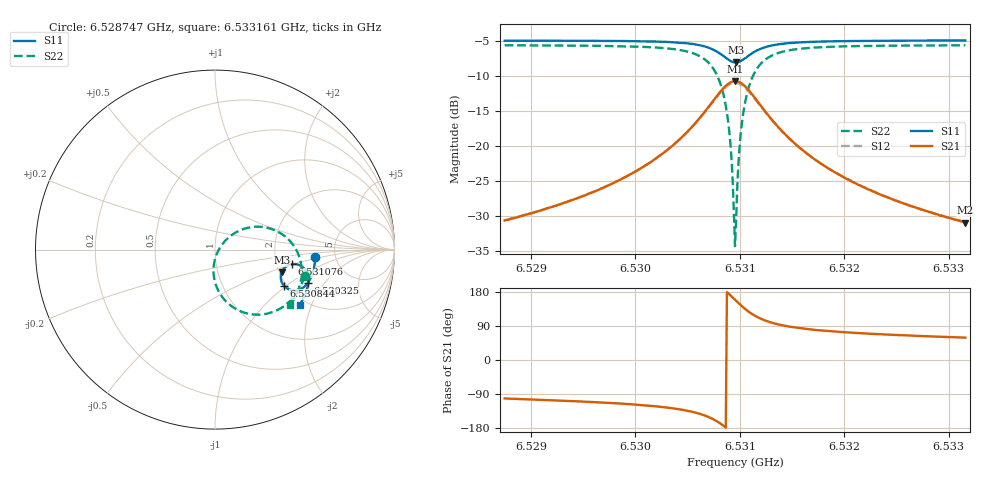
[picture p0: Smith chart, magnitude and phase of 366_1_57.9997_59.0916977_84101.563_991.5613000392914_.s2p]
#  HZ  S  RI  R  50.00
! Rohde & Schwarz Vector Network Analyzer
! Rohde-Schwarz,ZNB20-2Port,1311601062101988,3.16
! Created: UTC 3/21/2024, 1:06:43 AM
! freq[Hz]  re:S11  im:S11  re:S21  im:S21  re:S12  im:S12  re:S22  im:S22
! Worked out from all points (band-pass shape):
!   401 points, 6.528747 GHz to 6.533161 GHz, reference 50 ohm
!   highest |S21| = -10.79 dB at 6.530954 GHz (marker M1); lowest = -31.0 dB at 6.533161 GHz (marker M2)
!   |S21| within 3 dB of the highest: 6.530735 GHz to 6.531176 GHz (440.4 kHz wide, 0.00674 % of centre)
!   lowest |S11| = -8.1 dB at 6.530965 GHz (marker M3), VSWR 2.29, Z = 103 - j30.6 ohm
!   |S11| at or under -10 dB: nowhere
!   |S22| runs from -34.3 to -5.7 dB; largest |S21 - S12| = 0.011
!   S11 on the Smith chart (normalised r, x): 6.528747 GHz: 3.50, -0.45; 6.530325 GHz: 2.60, -1.39; 6.530844 GHz: 1.94, -0.97; 6.531076 GHz: 2.42, -0.48; 6.533161 GHz: 1.82, -1.65
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6.5287473e9  0.5596 -0.0437  -0.00581 -0.0287  -0.00646 -0.0286  0.4997 -0.1469
6.5294866e9  0.5506 -0.1044  -0.0145 -0.0409  -0.0155 -0.0406  0.4714 -0.214
6.5302259e9  0.5239 -0.1756  -0.046 -0.0703  -0.0477 -0.0693  0.3951 -0.3068
6.5303252e9  0.5161 -0.1871  -0.0568 -0.0772  -0.0589 -0.0757  0.372 -0.3233
6.5306783e9  0.4536 -0.2269  -0.1525 -0.0957  -0.1546 -0.0897  0.1897 -0.3579
6.5307776e9  0.4147 -0.2226  -0.2128 -0.0726  -0.2124 -0.064  0.0867 -0.3112
6.5308438e9  0.3858 -0.2029  -0.2559 -0.0288  -0.252 -0.0195  0.0191 -0.2303
6.5308769e9  0.3741 -0.1858  -0.2719 0.00503  -0.2656 0.0135  -0.00238 -0.1716
6.530899e9  0.3688 -0.172  -0.2779 0.0314  -0.2703 0.0389  -0.00831 -0.1269
6.5309431e9  0.3674 -0.141  -0.2743 0.0885  -0.2649 0.0929  0.00652 -0.0332
6.5309542e9  0.3692 -0.1332  -0.2699 0.1026  -0.2602 0.1062  0.016 -0.0106
6.5309652e9  0.3717 -0.1255  -0.2641 0.1162  -0.2543 0.1189  0.0277 0.0109
6.5309762e9  0.3753 -0.1184  -0.2569 0.1291  -0.2473 0.131  0.0414 0.0309
6.5309983e9  0.3843 -0.1053  -0.2393 0.1522  -0.2302 0.1524  0.074 0.0661
6.5310093e9  0.3897 -0.0997  -0.229 0.1621  -0.2204 0.1615  0.0923 0.0806
6.5310424e9  0.4078 -0.0872  -0.1957 0.1845  -0.1884 0.1825  0.1512 0.1122
6.5310755e9  0.427 -0.0811  -0.1613 0.1961  -0.1555 0.1934  0.2104 0.1262
6.5311528e9  0.4656 -0.0845  -0.093 0.1942  -0.09 0.1916  0.3252 0.1111
6.5312631e9  0.4983 -0.107  -0.0357 0.1643  -0.0341 0.1631  0.4187 0.0467
6.5316935e9  0.5197 -0.183  0.014 0.081  0.0151 0.0809  0.4833 -0.1301
6.5324328e9  0.4996 -0.2556  0.0166 0.0389  0.0173 0.0387  0.4554 -0.2455
6.533161e9  0.4713 -0.3089  0.0146 0.0242  0.0151 0.0241  0.4199 -0.3077
